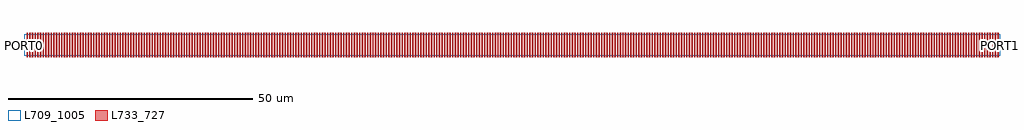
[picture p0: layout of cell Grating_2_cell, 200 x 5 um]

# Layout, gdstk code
import gdstk
lib = gdstk.Library(unit=1e-6, precision=1e-09)
def R(c, l, rs):  # rectangles x0, y0, x1, y1
    for r in rs: c.add(gdstk.rectangle(r[:2], r[2:], *l))
def A(c, l, x, y, w, h, nx, ny, dx, dy):  # array of equal rectangles
    R(c, l, [(x+i*dx, y+j*dy, x+i*dx+w, y+j*dy+h) for i in range(nx) for j in range(ny)])
L709_1005 = (709, 1005)
L733_727 = (733, 727)

grating_2_cell = lib.new_cell('Grating_2_cell')
R(grating_2_cell, L709_1005, [(0,-2.25,200,2.25)])
A(grating_2_cell, L733_727, 0.53, -2.5, 0.272, 5, 37, 1, 0.545, 0)
A(grating_2_cell, L733_727, 20.695, -2.5, 0.273, 5, 223, 1, 0.545, 0)
A(grating_2_cell, L733_727, 142.23, -2.5, 0.272, 5, 106, 1, 0.545, 0)
grating_2_cell.add(gdstk.Label('PORT0', (0,0), layer=1001, texttype=3))
grating_2_cell.add(gdstk.Label('PORT1', (200,0), layer=1001, texttype=3))
grating_2_cell.add(gdstk.Label('sub!', (0,0), layer=1002, texttype=6))

lib.write_gds('Grating_2_cell.gds')
